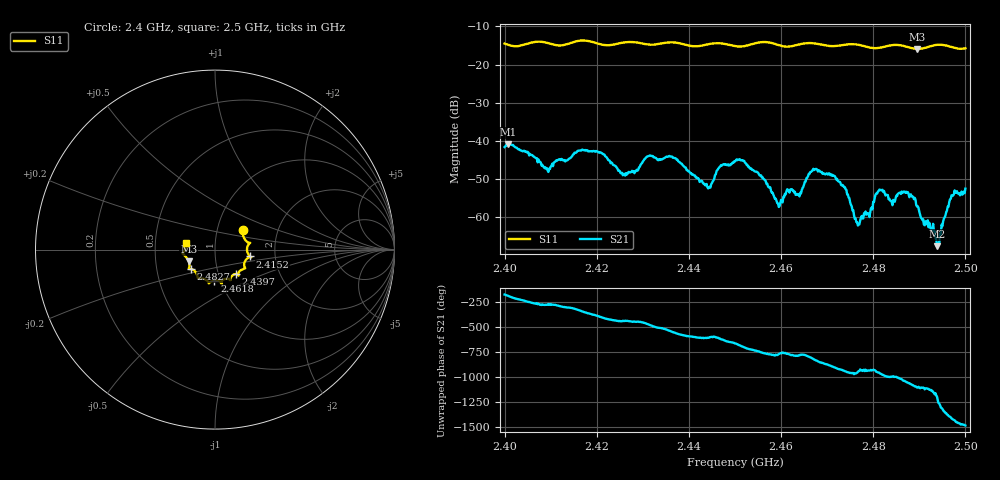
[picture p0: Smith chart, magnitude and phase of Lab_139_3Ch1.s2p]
# Hz S RI R 50
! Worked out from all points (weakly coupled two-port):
!   601 points, 2.4 GHz to 2.5 GHz, reference 50 ohm
!   highest |S21| = -40.91 dB at 2.4008 GHz (marker M1); lowest = -67.6 dB at 2.4938 GHz (marker M2)
!   lowest |S11| = -15.9 dB at 2.4895 GHz (marker M3), VSWR 1.38, Z = 37 - j5.03 ohm
!   |S11| at or under -10 dB: start of sweep to end of sweep
!   S12 and S22 are empty: the file has one direction only
!   S11 on the Smith chart (normalised r, x): 2.4 GHz: 1.33, +0.29; 2.4152 GHz: 1.48, -0.12; 2.4397 GHz: 1.21, -0.34; 2.4618 GHz: 0.94, -0.33; 2.4827 GHz: 0.75, -0.17; 2.5 GHz: 0.72, +0.06
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2.4e9  0.1548 0.1066  -0.0083 -0.000349  0 0  0 0
2.400833e9  0.1548 0.0938  -0.00883 0.00178  0 0  0 0
2.409333e9  0.1895 0.0324  0.000689 0.00403  0 0  0 0
2.415167e9  0.1952 -0.0382  0.00535 0.00454  0 0  0 0
2.416667e9  0.2024 -0.0431  0.00717 0.00216  0 0  0 0
2.426167e9  0.1673 -0.102  0.000636 -0.00346  0 0  0 0
2.433333e9  0.1297 -0.1339  -0.00483 -0.00278  0 0  0 0
2.439667e9  0.117 -0.1359  -0.0025 0.00331  0 0  0 0
2.444167e9  0.0852 -0.1643  -0.000821 0.00224  0 0  0 0
2.45e9  0.065 -0.1626  0.00325 0.00429  0 0  0 0
2.459333e9  0.0276 -0.1789  0.000793 -0.00129  0 0  0 0
2.461833e9  -0.00347 -0.1726  0.00116 -0.00175  0 0  0 0
2.463833e9  -0.0268 -0.1814  0.000822 -0.00179  0 0  0 0
2.466667e9  -0.0348 -0.188  -0.000283 -0.004  0 0  0 0
2.473667e9  -0.0865 -0.16  -0.00187 0.00161  0 0  0 0
2.4765e9  -0.0958 -0.1558  -0.000418 0.000754  0 0  0 0
2.482667e9  -0.1348 -0.1084  0.000135 0.00192  0 0  0 0
2.483333e9  -0.1398 -0.1081  0.000322 0.00169  0 0  0 0
2.4895e9  -0.1458 -0.0662  0.00121 -0.000669  0 0  0 0
2.493833e9  -0.1801 -0.0233  -0.000205 -0.000364  0 0  0 0
2.497167e9  -0.1691 -0.00577  0.00183 0.000531  0 0  0 0
2.5e9  -0.1593 0.0388  0.00159 -0.00176  0 0  0 0
